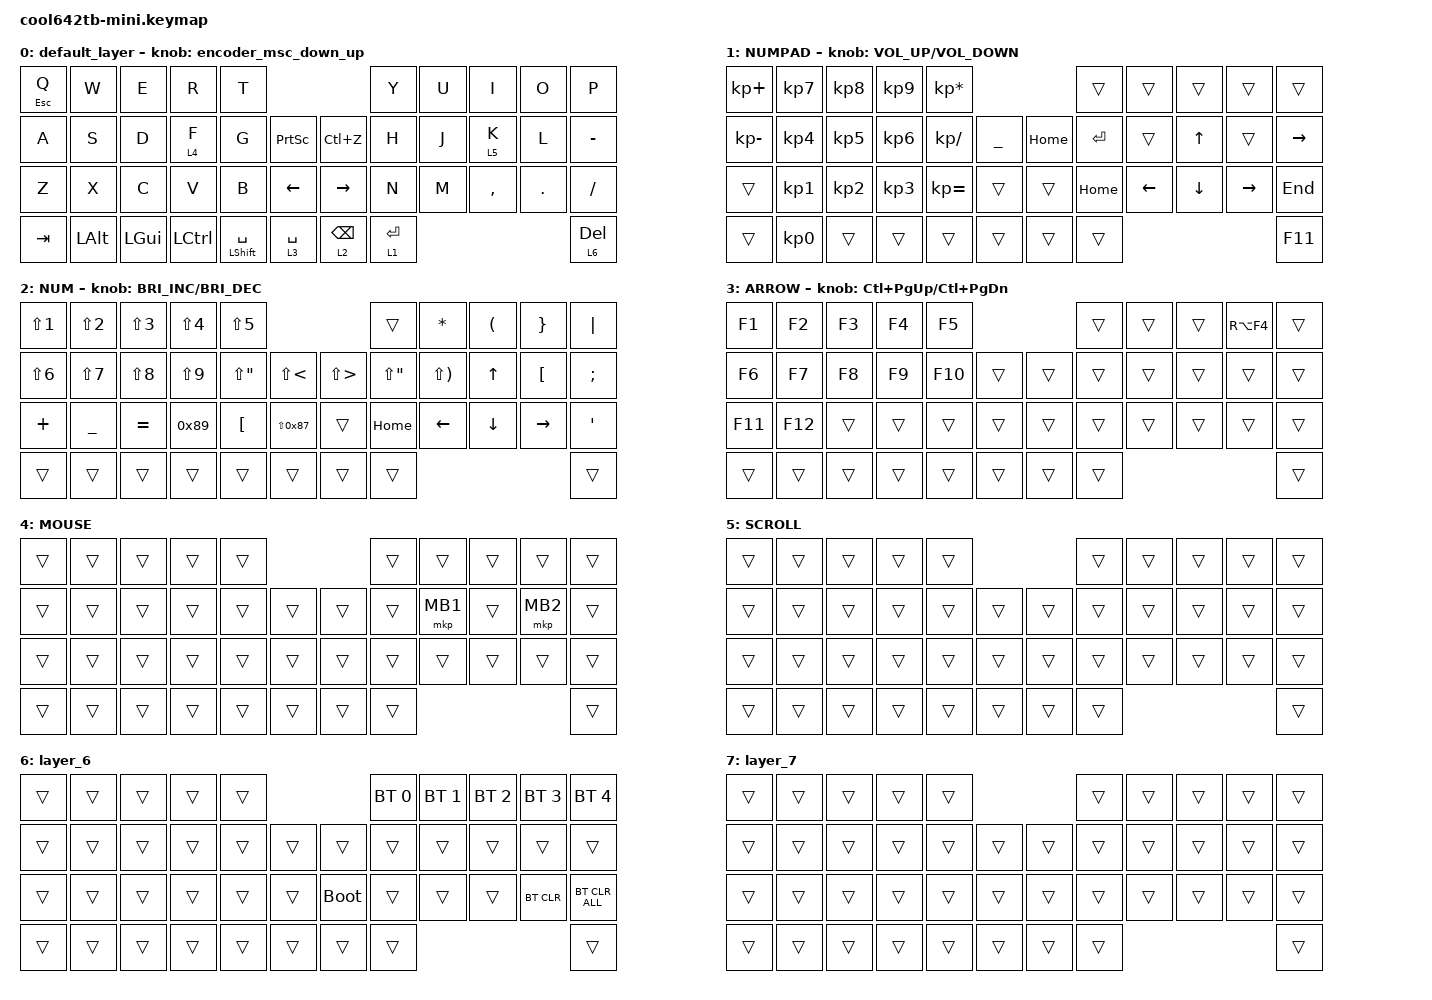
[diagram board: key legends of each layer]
#include <behaviors.dtsi>
#include <dt-bindings/zmk/bt.h>
#include <dt-bindings/zmk/keys.h>
#include <dt-bindings/zmk/pointing.h>

#define MOUSE 4
#define SCROLL 5
#define NUM 6
#define ZMK_POINTING_DEFAULT_SCRL_VAL 80

&mt {
    flavor = "balanced";
    quick-tap-ms = <0>;
};

/ {
    combos {
        compatible = "zmk,combos";

        shift_tab {
            bindings = <&kp LANG2>;
            key-positions = <12 13>;
        };

        lang {
            bindings = <&kp LANG1>;
            key-positions = <18 19>;
        };
    };

    behaviors {
        encoder_msc_down_up: encoder_msc_down_up {
            compatible = "zmk,behavior-sensor-rotate";
            label = "ENCODER_MSC_DOWN_UP";
            #sensor-binding-cells = <0>;
            bindings = <&msc SCRL_UP>, <&msc SCRL_DOWN>;

            tap-ms = <20>;
        };
    };

    keymap {
        compatible = "zmk,keymap";

        default_layer {
            bindings = <
&mt ESCAPE Q  &kp W         &kp E         &kp R      &kp T                                                       &kp Y        &kp U  &kp I      &kp O    &kp P
&kp A         &kp S         &kp D         &lt 4 F    &kp G                 &kp PRINTSCREEN      &kp LC(Z)        &kp H        &kp J  &lt 5 K    &kp L    &kp MINUS
&kp Z         &kp X         &kp C         &kp V      &kp B                 &kp LEFT_ARROW       &kp RIGHT        &kp N        &kp M  &kp COMMA  &kp DOT  &kp SLASH
&kp TAB       &kp LEFT_ALT  &kp LEFT_GUI  &kp LCTRL  &mt LEFT_SHIFT SPACE  &lt 3 SPACE          &lt 2 BACKSPACE  &lt 1 ENTER                             &lt 6 DELETE
            >;

            sensor-bindings = <&encoder_msc_down_up>;
        };

        NUMPAD {
            bindings = <
&kp KP_PLUS   &kp KP_NUMBER_7  &kp KP_NUMBER_8  &kp KP_NUMBER_9  &kp KP_ASTERISK                           &trans     &trans    &trans        &trans     &trans
&kp KP_MINUS  &kp KP_NUMBER_4  &kp KP_NUMBER_5  &kp KP_NUMBER_6  &kp KP_SLASH     &kp UNDER      &kp HOME  &kp ENTER  &trans    &kp UP_ARROW  &trans     &kp RIGHT
&trans        &kp KP_NUMBER_1  &kp KP_NUMBER_2  &kp KP_NUMBER_3  &kp KP_EQUAL     &trans         &trans    &kp HOME   &kp LEFT  &kp DOWN      &kp RIGHT  &kp END
&trans        &kp KP_NUMBER_0  &trans           &trans           &trans           &trans         &trans    &trans                                        &kp F11
            >;

            sensor-bindings = <&inc_dec_kp C_VOLUME_UP K_VOLUME_DOWN>;
        };

        NUM {
            bindings = <
&kp LS(NUMBER_1)  &kp LS(NUMBER_2)  &kp LS(NUMBER_3)  &kp LS(NUMBER_4)  &kp LS(N5)                                      &trans       &kp ASTRK     &kp LEFT_PARENTHESIS  &kp RIGHT_BRACE   &kp PIPE
&kp LS(NUMBER_6)  &kp LS(N7)        &kp LS(N8)        &kp LS(N9)        &kp LS(DQT)       &kp LS(LT)        &kp LS(GT)  &kp LS(DQT)  &kp LS(RPAR)  &kp UP_ARROW          &kp LEFT_BRACKET  &kp SEMICOLON
&kp PLUS          &kp UNDER         &kp EQUAL         &kp 0x89          &kp LEFT_BRACKET  &kp LS(0x87)      &trans      &kp HOME     &kp LEFT      &kp DOWN              &kp RIGHT         &kp SINGLE_QUOTE
&trans            &trans            &trans            &trans            &trans            &trans            &trans      &trans                                                             &trans
            >;

            sensor-bindings = <&inc_dec_kp C_BRIGHTNESS_INC C_BRI_DEC>;
        };

        ARROW {
            bindings = <
&kp F1   &kp F2   &kp F3  &kp F4  &kp F5                       &trans  &trans  &trans  &kp RA(F4)  &trans
&kp F6   &kp F7   &kp F8  &kp F9  &kp F10  &trans      &trans  &trans  &trans  &trans  &trans      &trans
&kp F11  &kp F12  &trans  &trans  &trans   &trans      &trans  &trans  &trans  &trans  &trans      &trans
&trans   &trans   &trans  &trans  &trans   &trans      &trans  &trans                              &trans
            >;

            sensor-bindings = <&inc_dec_kp LC(PAGE_UP) LC(PAGE_DOWN)>;
        };

        MOUSE {
            bindings = <
&trans  &trans  &trans  &trans  &trans                      &trans  &trans    &trans  &trans    &trans
&trans  &trans  &trans  &trans  &trans  &trans      &trans  &trans  &mkp MB1  &trans  &mkp MB2  &trans
&trans  &trans  &trans  &trans  &trans  &trans      &trans  &trans  &trans    &trans  &trans    &trans
&trans  &trans  &trans  &trans  &trans  &trans      &trans  &trans                              &trans
            >;
        };

        SCROLL {
            bindings = <
&trans  &trans  &trans  &trans  &trans                      &trans  &trans  &trans  &trans  &trans
&trans  &trans  &trans  &trans  &trans  &trans      &trans  &trans  &trans  &trans  &trans  &trans
&trans  &trans  &trans  &trans  &trans  &trans      &trans  &trans  &trans  &trans  &trans  &trans
&trans  &trans  &trans  &trans  &trans  &trans      &trans  &trans                          &trans
            >;
        };

        layer_6 {
            bindings = <
&trans  &trans  &trans  &trans  &trans                           &bt BT_SEL 0  &bt BT_SEL 1  &bt BT_SEL 2  &bt BT_SEL 3  &bt BT_SEL 4
&trans  &trans  &trans  &trans  &trans  &trans      &trans       &trans        &trans        &trans        &trans        &trans
&trans  &trans  &trans  &trans  &trans  &trans      &bootloader  &trans        &trans        &trans        &bt BT_CLR    &bt BT_CLR_ALL
&trans  &trans  &trans  &trans  &trans  &trans      &trans       &trans                                                  &trans
            >;
        };

        layer_7 {
            bindings = <
&trans  &trans  &trans  &trans  &trans                      &trans  &trans  &trans  &trans  &trans
&trans  &trans  &trans  &trans  &trans  &trans      &trans  &trans  &trans  &trans  &trans  &trans
&trans  &trans  &trans  &trans  &trans  &trans      &trans  &trans  &trans  &trans  &trans  &trans
&trans  &trans  &trans  &trans  &trans  &trans      &trans  &trans                          &trans
            >;
        };
    };
};
